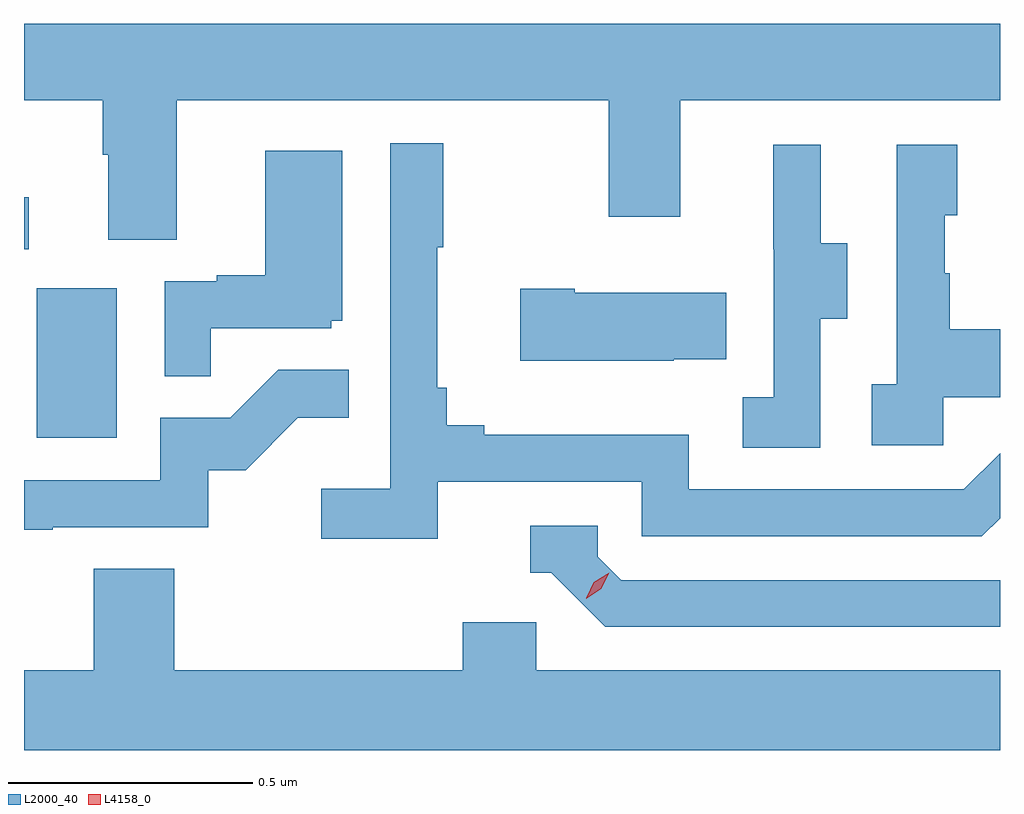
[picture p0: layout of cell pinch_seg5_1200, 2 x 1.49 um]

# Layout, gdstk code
import gdstk
lib = gdstk.Library(unit=1e-6, precision=1e-09)
def R(c, l, rs):  # rectangles x0, y0, x1, y1
    for r in rs: c.add(gdstk.rectangle(r[:2], r[2:], *l))
def P(c, l, *ps):  # polygons
    for p in ps: c.add(gdstk.Polygon(p, *l))
L2000_40 = (2000, 40)
L4158_0 = (4158, 0)

pinch_seg5_1200 = lib.new_cell('pinch_seg5_1200')
R(pinch_seg5_1200, L2000_40, [(821.552,840.084,821.716,840.391), (821.526,840.471,821.536,840.577)])
P(pinch_seg5_1200, L2000_40, [(821.839,840.776),(822.724,840.776),(822.724,840.537),(822.871,840.537),(822.871,840.776),(823.526,840.776),(823.526,840.933),(821.526,840.933),(821.526,840.776),(821.687,840.776),(821.687,840.664),(821.699,840.664),(821.699,840.49),(821.839,840.49)],
  [(822.374,839.994),(822.792,839.994),(822.792,839.883),(823.489,839.883),(823.526,839.92),(823.526,840.053),(823.452,839.979),(822.888,839.979),(822.888,840.091),(822.469,840.091),(822.469,840.11),(822.392,840.11),(822.392,840.187),(822.373,840.187),(822.373,840.475),(822.385,840.475),(822.385,840.688),(822.276,840.688),(822.276,839.98),(822.135,839.98),(822.135,839.878),(822.374,839.878)],
  [(823.41,840.167),(823.526,840.167),(823.526,840.307),(823.423,840.307),(823.423,840.422),(823.413,840.422),(823.413,840.54),(823.438,840.54),(823.438,840.685),(823.314,840.685),(823.314,840.194),(823.263,840.194),(823.263,840.069),(823.41,840.069)],
  [(823.158,840.328),(823.213,840.328),(823.213,840.483),(823.159,840.483),(823.159,840.685),(823.061,840.685),(823.061,840.471),(823.062,840.471),(823.062,840.167),(822.999,840.167),(822.999,840.064),(823.158,840.064)],
  [(821.909,840.309),(822.156,840.309),(822.156,840.324),(822.178,840.324),(822.178,840.673),(822.02,840.673),(822.02,840.418),(821.921,840.418),(821.921,840.405),(821.814,840.405),(821.814,840.211),(821.909,840.211)],
  [(822.857,840.245),(822.965,840.245),(822.965,840.382),(822.655,840.382),(822.655,840.39),(822.543,840.39),(822.543,840.242),(822.857,840.242)],
  [(821.585,839.901),(821.904,839.901),(821.904,840.018),(821.98,840.018),(822.087,840.125),(822.191,840.125),(822.191,840.224),(822.047,840.224),(821.949,840.126),(821.805,840.126),(821.805,839.997),(821.526,839.997),(821.526,839.896),(821.585,839.896)],
  [(823.526,839.793),(822.75,839.793),(822.702,839.841),(822.702,839.904),(822.563,839.904),(822.563,839.808),(822.606,839.808),(822.717,839.697),(823.526,839.697)],
  [(823.526,839.608),(822.576,839.608),(822.576,839.706),(822.425,839.706),(822.425,839.608),(821.834,839.608),(821.834,839.816),(821.669,839.816),(821.669,839.608),(821.526,839.608),(821.526,839.444),(823.526,839.444)])
P(pinch_seg5_1200, L4158_0, [(822.678,839.755),(822.678,839.756),(822.694,839.788),(822.725,839.808),(822.725,839.808),(822.725,839.808),(822.709,839.775),(822.678,839.755)])

lib.write_gds('pinch_seg5_1200.gds')
